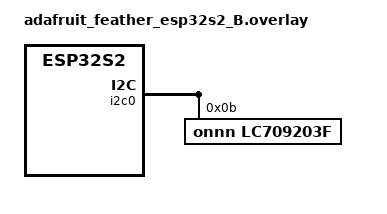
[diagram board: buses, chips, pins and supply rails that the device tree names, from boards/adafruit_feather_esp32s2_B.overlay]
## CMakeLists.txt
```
# SPDX-License-Identifier: Apache-2.0

cmake_minimum_required(VERSION 3.28.0)
find_package(Zephyr REQUIRED HINTS $ENV{ZEPHYR_BASE})
project(fuel_gauge)

FILE(GLOB app_sources src/*.c)
target_sources(app PRIVATE ${app_sources})
```

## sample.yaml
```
sample:
  name: Fuel Gauge Sensor Sample
tests:
  sample.sensor.fuel_gauge:
    build_only: true
    platform_allow:
      - nrf52840dk/nrf52840
      - adafruit_feather_esp32s2@B
      - adafruit_feather_esp32s2@C
      - adafruit_feather_esp32s2_tft
      - adafruit_feather_esp32s2_tft_reverse/esp32s2
      - adafruit_feather_esp32s3/esp32s3/procpu
    integration_platforms:
      - nrf52840dk/nrf52840
      - adafruit_feather_esp32s2@B
      - adafruit_feather_esp32s2@C
      - adafruit_feather_esp32s2_tft
      - adafruit_feather_esp32s2_tft_reverse/esp32s2
      - adafruit_feather_esp32s3/esp32s3/procpu
    tags: fuel_gauge
  sample.sensor.fuel_gauge.shields:
    platform_allow:
      - adafruit_feather_adalogger_rp2040/rp2040
    extra_args:
      - platform:adafruit_feather_adalogger_rp2040/rp2040:SHIELD="adafruit_lc709203f"
```

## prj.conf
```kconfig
CONFIG_FUEL_GAUGE=y
CONFIG_I2C=y
CONFIG_LOG=y
CONFIG_LOG_BUFFER_SIZE=4096
```

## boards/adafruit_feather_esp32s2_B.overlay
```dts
/*
 * Copyright (c) 2025 Philipp Steiner
 *
 * SPDX-License-Identifier: Apache-2.0
 */

/ {
	aliases {
		fuel-gauge0 = &lc709203f;
	};
};

&i2c0 {
	lc709203f: lc709203f@0b {
		compatible = "onnn,lc709203f";
		status = "okay";
		reg = <0x0b>;
		power-domains = <&i2c_reg>;
		apa = "500mAh";
		battery-profile = <0x01>;
	};
};
```

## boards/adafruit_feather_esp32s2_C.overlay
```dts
/*
 * Copyright (c) 2025 Philipp Steiner
 *
 * SPDX-License-Identifier: Apache-2.0
 */

/ {
	aliases {
		fuel-gauge0 = &max17048;
	};
};

&i2c0 {
	max17048: max17048@36 {
		compatible = "maxim,max17048";
		reg = <0x36>;
		power-domains = <&i2c_reg>;
		status = "okay";
	};
};
```

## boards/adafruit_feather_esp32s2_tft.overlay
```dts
/*
 * Copyright (c) 2025 Philipp Steiner
 *
 * SPDX-License-Identifier: Apache-2.0
 */

/ {
	aliases {
		fuel-gauge0 = &lc709203f;
	};
};

&i2c0 {
	lc709203f: lc709203f@0b {
		compatible = "onnn,lc709203f";
		reg = <0x0b>;
		power-domains = <&i2c_reg>;
		apa = "500mAh";
		battery-profile = <0x01>;
		status = "okay";
	};
};
```

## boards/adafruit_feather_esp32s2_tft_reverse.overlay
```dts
/*
 * Copyright (c) 2025 Philipp Steiner
 *
 * SPDX-License-Identifier: Apache-2.0
 */

&i2c0 {
	max17048: max17048@36 {
		status = "okay";
	};
};
```

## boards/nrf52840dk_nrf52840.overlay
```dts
/*
 * Copyright (c) 2023 Alvaro Garcia Gomez <maxpowel@gmail.com>
 *
 * SPDX-License-Identifier: Apache-2.0
 */

/ {
	aliases {
		fuel-gauge0 = &max17048;
	};
};

&i2c0 {
	compatible = "nordic,nrf-twim";
	pinctrl-0 = <&i2c0_default>;
	pinctrl-1 = <&i2c0_sleep>;
	pinctrl-names = "default", "sleep";
	status = "okay";

	max17048: max17048@36 {
		compatible = "maxim,max17048";
		reg = <0x36>;
		status = "okay";
	};
};
```

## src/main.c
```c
/*
 * Copyright (c) 2023 Alvaro Garcia Gomez <maxpowel@gmail.com>
 * Copyright (c) 2025 Philipp Steiner
 * Copyright (c) Qualcomm Technologies, Inc. and/or its subsidiaries.
 * Copyright (c) 2026 Analog Devices Inc.
 *
 * SPDX-License-Identifier: Apache-2.0
 */

#include <zephyr/sys/util.h>
#include <zephyr/kernel.h>
#include <zephyr/device.h>
#include <zephyr/devicetree.h>
#include <zephyr/drivers/fuel_gauge.h>

#define LOG_LEVEL CONFIG_LOG_DEFAULT_LEVEL
#include <zephyr/logging/log.h>
LOG_MODULE_REGISTER(app);

/*
 * Keep in sync with enum fuel_gauge_prop_type in include/zephyr/drivers/fuel_gauge.h
 * from FUEL_GAUGE_AVG_CURRENT_UA through FUEL_GAUGE_CONSUMED_CAPACITY_UAH (order matters).
 */
#define FUEL_GAUGE_PROP_X_LIST                                                                     \
	X(FUEL_GAUGE_AVG_CURRENT_UA)                                                               \
	X(FUEL_GAUGE_CURRENT_UA)                                                                   \
	X(FUEL_GAUGE_CHARGE_CUTOFF)                                                                \
	X(FUEL_GAUGE_CYCLE_COUNT)                                                                  \
	X(FUEL_GAUGE_CONNECT_STATE)                                                                \
	X(FUEL_GAUGE_FLAGS)                                                                        \
	X(FUEL_GAUGE_FULL_CHARGE_CAPACITY)                                                         \
	X(FUEL_GAUGE_PRESENT_STATE)                                                                \
	X(FUEL_GAUGE_REMAINING_CAPACITY)                                                           \
	X(FUEL_GAUGE_RUNTIME_TO_EMPTY_MINS)                                                        \
	X(FUEL_GAUGE_RUNTIME_TO_FULL_MINS)                                                         \
	X(FUEL_GAUGE_SBS_MFR_ACCESS)                                                               \
	X(FUEL_GAUGE_ABSOLUTE_STATE_OF_CHARGE_PCT)                                                 \
	X(FUEL_GAUGE_RELATIVE_STATE_OF_CHARGE_PCT)                                                 \
	X(FUEL_GAUGE_TEMPERATURE_DK)                                                               \
	X(FUEL_GAUGE_VOLTAGE_UV)                                                                   \
	X(FUEL_GAUGE_SBS_MODE)                                                                     \
	X(FUEL_GAUGE_CHARGE_CURRENT_UA)                                                            \
	X(FUEL_GAUGE_CHARGE_VOLTAGE_UV)                                                            \
	X(FUEL_GAUGE_STATUS)                                                                       \
	X(FUEL_GAUGE_DESIGN_CAPACITY)                                                              \
	X(FUEL_GAUGE_DESIGN_VOLTAGE_MV)                                                            \
	X(FUEL_GAUGE_SBS_ATRATE)                                                                   \
	X(FUEL_GAUGE_SBS_ATRATE_TIME_TO_FULL_MINS)                                                 \
	X(FUEL_GAUGE_SBS_ATRATE_TIME_TO_EMPTY_MINS)                                                \
	X(FUEL_GAUGE_SBS_ATRATE_OK)                                                                \
	X(FUEL_GAUGE_SBS_REMAINING_CAPACITY_ALARM)                                                 \
	X(FUEL_GAUGE_SBS_REMAINING_TIME_ALARM_MINS)                                                \
	X(FUEL_GAUGE_MANUFACTURER_NAME)                                                            \
	X(FUEL_GAUGE_DEVICE_NAME)                                                                  \
	X(FUEL_GAUGE_DEVICE_CHEMISTRY)                                                             \
	X(FUEL_GAUGE_CURRENT_DIRECTION)                                                            \
	X(FUEL_GAUGE_STATE_OF_CHARGE_ALARM_PCT)                                                    \
	X(FUEL_GAUGE_LOW_VOLTAGE_ALARM_UV)                                                         \
	X(FUEL_GAUGE_HIGH_VOLTAGE_ALARM_UV)                                                        \
	X(FUEL_GAUGE_LOW_CURRENT_ALARM_UA)                                                         \
	X(FUEL_GAUGE_HIGH_CURRENT_ALARM_UA)                                                        \
	X(FUEL_GAUGE_LOW_TEMPERATURE_ALARM_DK)                                                     \
	X(FUEL_GAUGE_HIGH_TEMPERATURE_ALARM_DK)                                                    \
	X(FUEL_GAUGE_LOW_GPIO_ALARM_UV)                                                            \
	X(FUEL_GAUGE_HIGH_GPIO_ALARM_UV)                                                           \
	X(FUEL_GAUGE_GPIO_VOLTAGE_UV)                                                              \
	X(FUEL_GAUGE_ADC_MODE)                                                                     \
	X(FUEL_GAUGE_CC_CONFIG)                                                                    \
	X(FUEL_GAUGE_STATE_OF_HEALTH)                                                              \
	X(FUEL_GAUGE_THERM_VOLTAGE_UV)                                                             \
	X(FUEL_GAUGE_CONSUMED_CAPACITY_UAH)

BUILD_ASSERT(FUEL_GAUGE_CONSUMED_CAPACITY_UAH + 1 == FUEL_GAUGE_COMMON_COUNT);

static const char *const fuel_gauge_prop_strs[FUEL_GAUGE_COMMON_COUNT] = {
#define X(name) [name] = #name,
	FUEL_GAUGE_PROP_X_LIST
#undef X
};

const char *fuel_gauge_prop_to_str(enum fuel_gauge_prop_type prop)
{
	if (prop < FUEL_GAUGE_COMMON_COUNT && fuel_gauge_prop_strs[prop] != NULL) {
		return fuel_gauge_prop_strs[prop];
	}

	return "Unknown fuel gauge property";
}

static void decode_and_log_sbs_mode(uint16_t sbs_mode)
{
	if (sbs_mode & BIT(0)) {
		LOG_INF("    Internal charge controller supported");
	}
	if (sbs_mode & BIT(1)) {
		LOG_INF("    Primary or secondary battery support");
	}
	LOG_INF("    Conditioning: %s", (sbs_mode & BIT(7)) ? "cycle requested" : "Battery OK");
	if (sbs_mode & BIT(8)) {
		LOG_INF("    Internal charge control enabled");
	}
	if (sbs_mode & BIT(1)) {
		LOG_INF("    Battery operating in its %s role",
			(sbs_mode & BIT(9)) ? "primary" : "secondary");
	}
	if (sbs_mode & BIT(13)) {
		LOG_INF("    Alarm warning broadcast disabled");
	}
	if (sbs_mode & BIT(14)) {
		LOG_INF("    Charging voltage and current broadcast disabled");
	}
	LOG_INF("    Capacity reporting in %s",
		(sbs_mode & BIT(15)) ? "10 mW and 10 mWh" : "mA and mAh");
}

static void decode_and_log_fg_status(uint16_t fg_status)
{
	if (fg_status & BIT(4)) {
		LOG_INF("    Fully discharged");
	}
	if (fg_status & BIT(5)) {
		LOG_INF("    Fully charged");
	}
	if (fg_status & BIT(6)) {
		LOG_INF("    Discharging");
	}
	if (fg_status & BIT(7)) {
		LOG_INF("    Initialized");
	}
	if (fg_status & BIT(8)) {
		LOG_INF("    Remaining time alarm");
	}
	if (fg_status & BIT(9)) {
		LOG_INF("    Remaining capacity alarm");
	}
	if (fg_status & BIT(11)) {
		LOG_INF("    Terminate discharge alarm");
	}
	if (fg_status & BIT(12)) {
		LOG_INF("    Over temp alarm");
	}
	if (fg_status & BIT(14)) {
		LOG_INF("    Terminate charge alarm");
	}
	if (fg_status & BIT(15)) {
		LOG_INF("    Over charged alarm");
	}
}

static void decode_and_log_property(fuel_gauge_prop_t prop, union fuel_gauge_prop_val value)
{
	switch (prop) {
	case FUEL_GAUGE_AVG_CURRENT_UA:
		LOG_INF("  1 min. avg. current: %" PRId32 " μA; neg. = discharging",
			value.avg_current_ua);
		break;
	case FUEL_GAUGE_CURRENT_UA:
		LOG_INF("  Current: %" PRId32 " μA; neg. = discharging", value.current_ua);
		break;
	case FUEL_GAUGE_CHARGE_CUTOFF:
		LOG_INF("  Battery cut off: %s", value.cutoff ? "yes" : "no");
		break;
	case FUEL_GAUGE_CYCLE_COUNT:
		LOG_INF("  Cycle count: %" PRIu32 " charge/discharge cycles", value.cycle_count);
		break;
	case FUEL_GAUGE_CONNECT_STATE:
		LOG_INF("  Connect state: 0x%" PRIX32, value.connect_state);
		break;
	case FUEL_GAUGE_FLAGS:
		LOG_INF("  Flags: 0x%" PRIX32, value.flags);
		break;
	case FUEL_GAUGE_FULL_CHARGE_CAPACITY:
		LOG_INF("  Full charge capacity: %" PRIu32 " μAh", value.full_charge_capacity);
		break;
	case FUEL_GAUGE_PRESENT_STATE:
		LOG_INF("  Present state: %s", value.present_state ? "yes" : "no");
		break;
	case FUEL_GAUGE_REMAINING_CAPACITY:
		LOG_INF("  Remaining capacity: %" PRIu32 " μAh", value.remaining_capacity);
		break;
	case FUEL_GAUGE_RUNTIME_TO_EMPTY_MINS:
		LOG_INF("  Runtime to empty: %" PRIu32 " minutes", value.runtime_to_empty_mins);
		break;
	case FUEL_GAUGE_RUNTIME_TO_FULL_MINS:
		LOG_INF("  Runtime to full: %" PRIu32 " minutes", value.runtime_to_full_mins);
		break;
	case FUEL_GAUGE_SBS_MFR_ACCESS:
		LOG_INF("  SBS MFR access: 0x%" PRIX16, value.sbs_mfr_access_word);
		break;
	case FUEL_GAUGE_ABSOLUTE_STATE_OF_CHARGE_PCT:
		LOG_INF("  Absolute state of charge: %" PRIu8 " %%",
			value.absolute_state_of_charge_pct);
		break;
	case FUEL_GAUGE_RELATIVE_STATE_OF_CHARGE_PCT:
		LOG_INF("  Relative state of charge: %" PRIu8 " %%",
			value.relative_state_of_charge_pct);
		break;
	case FUEL_GAUGE_TEMPERATURE_DK:
		LOG_INF("  Temperature: %" PRIu16 " * 0.1 K", value.temperature_dk);
		break;
	case FUEL_GAUGE_VOLTAGE_UV:
		LOG_INF("  Voltage: %d μV", value.voltage_uv);
		break;
	case FUEL_GAUGE_SBS_MODE:
		LOG_INF("  SBS mode: 0x%" PRIX16, value.sbs_mode);
		decode_and_log_sbs_mode(value.sbs_mode);
		break;
	case FUEL_GAUGE_CHARGE_CURRENT_UA:
		LOG_INF("  Desired max. charging current: %" PRIu32 " μA", value.chg_current_ua);
		break;
	case FUEL_GAUGE_CHARGE_VOLTAGE_UV:
		LOG_INF("  Desired max. charging voltage: %" PRIu32 " μV", value.chg_voltage_uv);
		break;
	case FUEL_GAUGE_STATUS:
		LOG_INF("  Status: 0x%" PRIX16, value.fg_status);
		decode_and_log_fg_status(value.fg_status);
		break;
	case FUEL_GAUGE_DESIGN_CAPACITY:
		LOG_INF("  Design capacity: %" PRIu16 " mAh or cWh", value.design_cap);
		break;
	case FUEL_GAUGE_DESIGN_VOLTAGE_MV:
		LOG_INF("  Design voltage: %" PRIu16 " mV", value.design_volt_mv);
		break;
	case FUEL_GAUGE_SBS_ATRATE:
		LOG_INF("  SBS at rate: %" PRIi16 " mA or cW", value.sbs_at_rate);
		break;
	case FUEL_GAUGE_SBS_ATRATE_TIME_TO_FULL_MINS:
		LOG_INF("  SBS at rate time to full: %" PRIu16 " minutes",
			value.sbs_at_rate_time_to_full_mins);
		break;
	case FUEL_GAUGE_SBS_ATRATE_TIME_TO_EMPTY_MINS:
		LOG_INF("  SBS at rate time to empty: %" PRIu16 " minutes",
			value.sbs_at_rate_time_to_empty_mins);
		break;
	case FUEL_GAUGE_SBS_ATRATE_OK:
		LOG_INF("  SBS at rate ok: %s", value.sbs_at_rate_ok ? "yes" : "no");
		break;
	case FUEL_GAUGE_SBS_REMAINING_CAPACITY_ALARM:
		LOG_INF("  SBS remaining capacity alarm: %" PRIu16 " mAh or cWh",
			value.sbs_remaining_capacity_alarm);
		break;
	case FUEL_GAUGE_SBS_REMAINING_TIME_ALARM_MINS:
		LOG_INF("  SBS Remaining time alarm: %" PRIu16 " minutes",
			value.sbs_remaining_time_alarm_mins);
		break;
	case FUEL_GAUGE_CURRENT_DIRECTION:
		LOG_INF("  Current direction: 0x%" PRIX16, value.current_direction);
		break;
	case FUEL_GAUGE_STATE_OF_CHARGE_ALARM_PCT:
		LOG_INF("  State of charge alarm: %" PRIu8 " %%", value.state_of_charge_alarm_pct);
		break;
	case FUEL_GAUGE_LOW_VOLTAGE_ALARM_UV:
		LOG_INF("  Low voltage alarm: %" PRIu32 " μV", value.low_voltage_alarm_uv);
		break;
	case FUEL_GAUGE_HIGH_VOLTAGE_ALARM_UV:
		LOG_INF("  High voltage alarm: %" PRIu32 " μV", value.high_voltage_alarm_uv);
		break;
	case FUEL_GAUGE_LOW_CURRENT_ALARM_UA:
		LOG_INF("  Low current alarm: %" PRIi32 " μA", value.low_current_alarm_ua);
		break;
	case FUEL_GAUGE_HIGH_CURRENT_ALARM_UA:
		LOG_INF("  High current alarm: %" PRIi32 " μA", value.high_current_alarm_ua);
		break;
	case FUEL_GAUGE_LOW_TEMPERATURE_ALARM_DK:
		LOG_INF("  Low temperature alarm: %" PRIu16 " * 0.1 K",
			value.low_temperature_alarm_dk);
		break;
	case FUEL_GAUGE_HIGH_TEMPERATURE_ALARM_DK:
		LOG_INF("  High temperature alarm: %" PRIu16 " * 0.1 K",
			value.high_temperature_alarm_dk);
		break;
	case FUEL_GAUGE_LOW_GPIO_ALARM_UV:
		LOG_INF("  Low GPIO Voltage alarm: %" PRIi32 " μV", value.low_gpio_alarm_uv);
		break;
	case FUEL_GAUGE_HIGH_GPIO_ALARM_UV:
		LOG_INF("  High GPIO Voltage alarm: %" PRIi32 " μV", value.high_gpio_alarm_uv);
		break;
	case FUEL_GAUGE_GPIO_VOLTAGE_UV:
		LOG_INF("  GPIO Voltage: %" PRIi32 " μV", value.gpio_voltage_uv);
		break;
	case FUEL_GAUGE_ADC_MODE:
		LOG_INF("  ADC Mode: 0x%" PRIX8, value.adc_mode);
		break;
	case FUEL_GAUGE_CC_CONFIG:
		LOG_INF("  Coulomb Counter Config: 0x%" PRIX8, value.cc_config);
		break;
	case FUEL_GAUGE_STATE_OF_HEALTH:
		LOG_INF("  State of Health (SoH): %" PRIu8 " %%", value.state_of_health);
		break;
	case FUEL_GAUGE_THERM_VOLTAGE_UV:
		LOG_INF("  Thermistor voltage: %" PRIu32 " μV", value.therm_voltage_uv);
		break;
	case FUEL_GAUGE_CONSUMED_CAPACITY_UAH:
		LOG_INF("  Consumed capacity: %" PRIu32 " μAh", value.consumed_capacity_uah);
		break;
	default:
		LOG_ERR("Unknown fuel gauge property");
	}
}

int main(void)
{
	const struct device *const dev = DEVICE_DT_GET(DT_ALIAS(fuel_gauge0));
	int ret = 0;

	if (dev == NULL) {
		LOG_ERR("no device found.");
		return 0;
	}

	if (!device_is_ready(dev)) {
		LOG_ERR_DEVICE_NOT_READY(dev);
		return 0;
	}

	LOG_INF("Found device \"%s\"", dev->name);

	{
		LOG_INF("Test-Read generic fuel gauge properties to verify which are supported");
		LOG_INF("Info: not all properties are supported by all fuel gauges!");

		fuel_gauge_prop_t test_props[] = {
			FUEL_GAUGE_AVG_CURRENT_UA,
			FUEL_GAUGE_CURRENT_UA,
			FUEL_GAUGE_CHARGE_CUTOFF,
			FUEL_GAUGE_CYCLE_COUNT,
			FUEL_GAUGE_CONNECT_STATE,
			FUEL_GAUGE_FLAGS,
			FUEL_GAUGE_FULL_CHARGE_CAPACITY,
			FUEL_GAUGE_PRESENT_STATE,
			FUEL_GAUGE_REMAINING_CAPACITY,
			FUEL_GAUGE_RUNTIME_TO_EMPTY_MINS,
			FUEL_GAUGE_RUNTIME_TO_FULL_MINS,
			FUEL_GAUGE_SBS_MFR_ACCESS,
			FUEL_GAUGE_ABSOLUTE_STATE_OF_CHARGE_PCT,
			FUEL_GAUGE_RELATIVE_STATE_OF_CHARGE_PCT,
			FUEL_GAUGE_TEMPERATURE_DK,
			FUEL_GAUGE_VOLTAGE_UV,
			FUEL_GAUGE_SBS_MODE,
			FUEL_GAUGE_CHARGE_CURRENT_UA,
			FUEL_GAUGE_CHARGE_VOLTAGE_UV,
			FUEL_GAUGE_STATUS,
			FUEL_GAUGE_DESIGN_CAPACITY,
			FUEL_GAUGE_DESIGN_VOLTAGE_MV,
			FUEL_GAUGE_SBS_ATRATE,
			FUEL_GAUGE_SBS_ATRATE_TIME_TO_FULL_MINS,
			FUEL_GAUGE_SBS_ATRATE_TIME_TO_EMPTY_MINS,
			FUEL_GAUGE_SBS_ATRATE_OK,
			FUEL_GAUGE_SBS_REMAINING_CAPACITY_ALARM,
			FUEL_GAUGE_SBS_REMAINING_TIME_ALARM_MINS,
			FUEL_GAUGE_MANUFACTURER_NAME,
			FUEL_GAUGE_DEVICE_NAME,
			FUEL_GAUGE_DEVICE_CHEMISTRY,
			FUEL_GAUGE_CURRENT_DIRECTION,
			FUEL_GAUGE_STATE_OF_CHARGE_ALARM_PCT,
			FUEL_GAUGE_LOW_VOLTAGE_ALARM_UV,
			FUEL_GAUGE_HIGH_VOLTAGE_ALARM_UV,
			FUEL_GAUGE_LOW_CURRENT_ALARM_UA,
			FUEL_GAUGE_HIGH_CURRENT_ALARM_UA,
			FUEL_GAUGE_LOW_TEMPERATURE_ALARM_DK,
			FUEL_GAUGE_HIGH_TEMPERATURE_ALARM_DK,
			FUEL_GAUGE_LOW_GPIO_ALARM_UV,
			FUEL_GAUGE_HIGH_GPIO_ALARM_UV,
			FUEL_GAUGE_GPIO_VOLTAGE_UV,
			FUEL_GAUGE_ADC_MODE,
			FUEL_GAUGE_CC_CONFIG,
			FUEL_GAUGE_STATE_OF_HEALTH,
			FUEL_GAUGE_THERM_VOLTAGE_UV,
			FUEL_GAUGE_CONSUMED_CAPACITY_UAH,
		};

		BUILD_ASSERT(ARRAY_SIZE(test_props) == FUEL_GAUGE_COMMON_COUNT);

		union fuel_gauge_prop_val test_vals[ARRAY_SIZE(test_props)];

		for (size_t i = 0; i < ARRAY_SIZE(test_props); i++) {

			if (test_props[i] == FUEL_GAUGE_MANUFACTURER_NAME) {
				struct sbs_gauge_manufacturer_name mfg_name;

				ret = fuel_gauge_get_buffer_prop(dev, FUEL_GAUGE_MANUFACTURER_NAME,
								 &mfg_name, sizeof(mfg_name));
				if (ret == -ENOTSUP) {
					LOG_DBG("Property \"%s\" is not supported",
						fuel_gauge_prop_to_str(test_props[i]));
				} else if (ret < 0) {
					LOG_ERR("Error: cannot get property \"%s\": %d",
						fuel_gauge_prop_to_str(test_props[i]), ret);
				} else {
					LOG_DBG("Property \"%s\" is supported",
						fuel_gauge_prop_to_str(test_props[i]));
					LOG_INF("Manufacturer name: %.*s",
						mfg_name.manufacturer_name_length,
						mfg_name.manufacturer_name);
				}
			} else if (test_props[i] == FUEL_GAUGE_DEVICE_NAME) {
				struct sbs_gauge_device_name dev_name;

				ret = fuel_gauge_get_buffer_prop(dev, FUEL_GAUGE_DEVICE_NAME,
								 &dev_name, sizeof(dev_name));
				if (ret == -ENOTSUP) {
					LOG_DBG("Property \"%s\" is not supported",
						fuel_gauge_prop_to_str(test_props[i]));
				} else if (ret < 0) {
					LOG_ERR("Error: cannot get property \"%s\": %d",
						fuel_gauge_prop_to_str(test_props[i]), ret);
				} else {
					LOG_DBG("Property \"%s\" is supported",
						fuel_gauge_prop_to_str(test_props[i]));
					LOG_INF("Device name: %.*s", dev_name.device_name_length,
						dev_name.device_name);
				}
			} else if (test_props[i] == FUEL_GAUGE_DEVICE_CHEMISTRY) {
				struct sbs_gauge_device_chemistry device_chemistry;

				ret = fuel_gauge_get_buffer_prop(dev, FUEL_GAUGE_DEVICE_CHEMISTRY,
								 &device_chemistry,
								 sizeof(device_chemistry));
				if (ret == -ENOTSUP) {
					LOG_DBG("Property \"%s\" is not supported",
						fuel_gauge_prop_to_str(test_props[i]));
				} else if (ret < 0) {
					LOG_ERR("Error: cannot get property \"%s\": %d",
						fuel_gauge_prop_to_str(test_props[i]), ret);
				} else {
					LOG_DBG("Property \"%s\" is supported",
						fuel_gauge_prop_to_str(test_props[i]));
					LOG_INF("Device chemistry: %.*s",
						device_chemistry.device_chemistry_length,
						device_chemistry.device_chemistry);
				}
			} else {
				/* For all other properties, use the generic get_props function */

				ret = fuel_gauge_get_props(dev, &test_props[i], &test_vals[i], 1);

				if (ret == -ENOTSUP) {
					LOG_DBG("Property \"%s\" is not supported",
						fuel_gauge_prop_to_str(test_props[i]));
				} else if (ret < 0) {
					LOG_ERR("Error: cannot get property \"%s\": %d",
						fuel_gauge_prop_to_str(test_props[i]), ret);
				} else {
					LOG_DBG("Property \"%s\" is supported",
						fuel_gauge_prop_to_str(test_props[i]));

					decode_and_log_property(test_props[i], test_vals[i]);
				}
			}
		}
	}

	LOG_INF("Polling fuel gauge data 'FUEL_GAUGE_RELATIVE_STATE_OF_CHARGE_PCT' & "
		"'FUEL_GAUGE_VOLTAGE_UV'");

	while (1) {
		fuel_gauge_prop_t poll_props[] = {
			FUEL_GAUGE_RELATIVE_STATE_OF_CHARGE_PCT,
			FUEL_GAUGE_VOLTAGE_UV,
		};

		union fuel_gauge_prop_val poll_vals[ARRAY_SIZE(poll_props)];

		ret = fuel_gauge_get_props(dev, poll_props, poll_vals, ARRAY_SIZE(poll_props));

		if (ret < 0) {
			LOG_ERR("Error: cannot get properties");
		} else {
			LOG_INF("Fuel gauge data: Charge: %" PRIu8 " %%, Voltage: %d mV",
				poll_vals[0].relative_state_of_charge_pct,
				poll_vals[1].voltage_uv / 1000);
		}

		k_sleep(K_MSEC(5000));
	}
	return 0;
}
```
